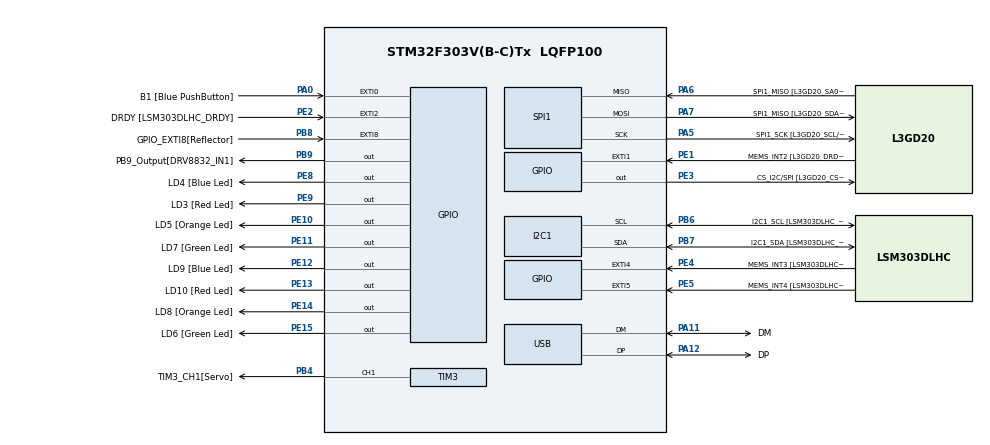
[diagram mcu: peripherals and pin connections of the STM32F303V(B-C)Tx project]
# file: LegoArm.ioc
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FREERTOS.configTOTAL_HEAP_SIZE=4000
FREERTOS.configUSE_PREEMPTION=1
FREERTOS.configUSE_TIMERS=1
I2C1.Timing-I2C=0x2000090E
Mcu.Family=STM32F3
Mcu.Name=STM32F303V(B-C)Tx
Mcu.Package=LQFP100
NVIC.EXTI0_IRQn=true\:6\:0
NVIC.PriorityGroup=NVIC_PRIORITYGROUP_4
NVIC.USB_LP_CAN_RX0_IRQn=true\:5\:0
PA0.GPIO_Label=B1 [Blue PushButton]
PA0.GPIO_ModeDefaultEXTI=GPIO_MODE_IT_RISING
PA0.GPIO_PuPd=GPIO_NOPULL
PA0.Signal=GPXTI0
PA11.GPIO_Label=DM
PA11.GPIO_Mode=GPIO_MODE_AF_PP
PA11.GPIO_PuPd=GPIO_NOPULL
PA11.GPIO_Speed=GPIO_SPEED_LOW
PA11.Mode=Device
PA11.Signal=USB_DM
PA12.GPIO_Label=DP
PA12.GPIO_Mode=GPIO_MODE_AF_PP
PA12.GPIO_PuPd=GPIO_NOPULL
PA12.GPIO_Speed=GPIO_SPEED_LOW
PA12.Mode=Device
PA12.Signal=USB_DP
PA13.GPIO_Label=SWDIO
PA13.Mode=Trace-Asynchronous_SW
PA13.Signal=SYS_JTMS-SWDIO
PA14.GPIO_Label=SWCLK
PA14.Mode=Trace-Asynchronous_SW
PA14.Signal=SYS_JTCK-SWCLK
PA5.GPIO_Label=SPI1_SCK [L3GD20_SCL/SPC]
PA5.GPIO_Mode=GPIO_MODE_AF_PP
PA5.GPIO_PuPd=GPIO_NOPULL
PA5.GPIO_Speed=GPIO_SPEED_LOW
PA5.Mode=Full_Duplex_Master
PA5.Signal=SPI1_SCK
PA6.GPIO_Label=SPI1_MISO [L3GD20_SA0/SDO]
PA6.GPIO_Mode=GPIO_MODE_AF_PP
PA6.GPIO_PuPd=GPIO_NOPULL
PA6.GPIO_Speed=GPIO_SPEED_LOW
PA6.Mode=Full_Duplex_Master
PA6.Signal=SPI1_MISO
PA7.GPIO_Label=SPI1_MISO [L3GD20_SDA/SDI/SDO]
PA7.GPIO_Mode=GPIO_MODE_AF_PP
PA7.GPIO_PuPd=GPIO_NOPULL
PA7.GPIO_Speed=GPIO_SPEED_LOW
PA7.Mode=Full_Duplex_Master
PA7.Signal=SPI1_MOSI
PB3.GPIO_Label=SWO
PB3.Mode=Trace-Asynchronous_SW
PB3.Signal=SYS_JTDO-TRACESWO
PB4.GPIO_Label=TIM3_CH1[Servo]
PB4.GPIO_ModeDefaultPP=GPIO_MODE_AF_PP
PB4.GPIO_PuPd=GPIO_NOPULL
PB4.GPIO_Speed=GPIO_SPEED_LOW
PB4.Signal=S_TIM3_CH1
PB6.GPIO_FM6=__NULL
PB6.GPIO_Label=I2C1_SCL [LSM303DLHC_SCL]
PB6.GPIO_Mode=GPIO_MODE_AF_OD
PB6.GPIO_PuPd=GPIO_NOPULL
PB6.GPIO_Speed=GPIO_SPEED_LOW
PB6.Mode=I2C
PB6.Signal=I2C1_SCL
PB7.GPIO_FM6=__NULL
PB7.GPIO_Label=I2C1_SDA [LSM303DLHC_SDA]
PB7.GPIO_Mode=GPIO_MODE_AF_OD
PB7.GPIO_PuPd=GPIO_NOPULL
PB7.GPIO_Speed=GPIO_SPEED_LOW
PB7.Mode=I2C
PB7.Signal=I2C1_SDA
PB8.GPIO_Label=GPIO_EXTI8[Reflector]
PB8.GPIO_ModeDefaultEXTI=GPIO_MODE_EVT_RISING
PB8.GPIO_PuPd=GPIO_PULLUP
PB8.Signal=GPXTI8
PB9.GPIO_Label=PB9_Output[DRV8832_IN1]
PB9.GPIO_ModeDefaultOutputPP=GPIO_MODE_OUTPUT_PP
PB9.GPIO_PuPd=GPIO_NOPULL
PB9.GPIO_Speed=GPIO_SPEED_LOW
PB9.Signal=GPIO_Output
PE1.GPIO_Label=MEMS_INT2 [L3GD20_DRDY/INT2]
PE1.GPIO_ModeDefaultEXTI=GPIO_MODE_EVT_RISING
PE1.GPIO_PuPd=GPIO_NOPULL
PE1.Signal=GPXTI1
PE10.GPIO_Label=LD5 [Orange Led]
PE10.GPIO_ModeDefaultOutputPP=GPIO_MODE_OUTPUT_PP
PE10.GPIO_PuPd=GPIO_NOPULL
PE10.GPIO_Speed=GPIO_SPEED_LOW
PE10.Signal=GPIO_Output
PE11.GPIO_Label=LD7 [Green Led]
PE11.GPIO_ModeDefaultOutputPP=GPIO_MODE_OUTPUT_PP
PE11.GPIO_PuPd=GPIO_NOPULL
PE11.GPIO_Speed=GPIO_SPEED_LOW
PE11.Signal=GPIO_Output
PE12.GPIO_Label=LD9 [Blue Led]
PE12.GPIO_ModeDefaultOutputPP=GPIO_MODE_OUTPUT_PP
PE12.GPIO_PuPd=GPIO_NOPULL
PE12.GPIO_Speed=GPIO_SPEED_LOW
PE12.Signal=GPIO_Output
PE13.GPIO_Label=LD10 [Red Led]
PE13.GPIO_ModeDefaultOutputPP=GPIO_MODE_OUTPUT_PP
PE13.GPIO_PuPd=GPIO_NOPULL
PE13.GPIO_Speed=GPIO_SPEED_LOW
PE13.Signal=GPIO_Output
PE14.GPIO_Label=LD8 [Orange Led]
PE14.GPIO_ModeDefaultOutputPP=GPIO_MODE_OUTPUT_PP
PE14.GPIO_PuPd=GPIO_NOPULL
PE14.GPIO_Speed=GPIO_SPEED_LOW
PE14.Signal=GPIO_Output
PE15.GPIO_Label=LD6 [Green Led]
PE15.GPIO_ModeDefaultOutputPP=GPIO_MODE_OUTPUT_PP
PE15.GPIO_PuPd=GPIO_NOPULL
PE15.GPIO_Speed=GPIO_SPEED_LOW
PE15.Signal=GPIO_Output
PE2.GPIO_Label=DRDY [LSM303DLHC_DRDY]
PE2.GPIO_ModeDefaultEXTI=GPIO_MODE_EVT_RISING
PE2.GPIO_PuPd=GPIO_NOPULL
PE2.Signal=GPXTI2
PE3.GPIO_Label=CS_I2C/SPI [L3GD20_CS_I2C/SPI]
PE3.GPIO_ModeDefaultOutputPP=GPIO_MODE_OUTPUT_PP
PE3.GPIO_PuPd=GPIO_NOPULL
PE3.GPIO_Speed=GPIO_SPEED_LOW
PE3.Signal=GPIO_Output
PE4.GPIO_Label=MEMS_INT3 [LSM303DLHC_INT1]
PE4.GPIO_ModeDefaultEXTI=GPIO_MODE_EVT_RISING
PE4.GPIO_PuPd=GPIO_NOPULL
PE4.Signal=GPXTI4
PE5.GPIO_Label=MEMS_INT4 [LSM303DLHC_INT2]
PE5.GPIO_ModeDefaultEXTI=GPIO_MODE_EVT_RISING
PE5.GPIO_PuPd=GPIO_NOPULL
PE5.Signal=GPXTI5
PE8.GPIO_Label=LD4 [Blue Led]
PE8.GPIO_ModeDefaultOutputPP=GPIO_MODE_OUTPUT_PP
PE8.GPIO_PuPd=GPIO_NOPULL
PE8.GPIO_Speed=GPIO_SPEED_LOW
PE8.Signal=GPIO_Output
PE9.GPIO_Label=LD3 [Red Led]
PE9.GPIO_ModeDefaultOutputPP=GPIO_MODE_OUTPUT_PP
PE9.GPIO_PuPd=GPIO_NOPULL
PE9.GPIO_Speed=GPIO_SPEED_LOW
PE9.Signal=GPIO_Output
PF0-OSC_IN.GPIO_Label=OSC_IN
PF0-OSC_IN.Mode=HSE-External-Oscillator
PF0-OSC_IN.Signal=RCC_OSC_IN
PF1-OSC_OUT.GPIO_Label=OSC_OUT
PF1-OSC_OUT.Mode=HSE-External-Oscillator
PF1-OSC_OUT.Signal=RCC_OSC_OUT
ProjectManager.TargetToolchain=MDK-ARM 4.73
RCC.APB1CLKDivider=RCC_HCLK_DIV2
RCC.HSE_VALUE=8000000
RCC.HSI_VALUE=8000000
RCC.LSE_VALUE=32768
RCC.PLLMUL=RCC_PLL_MUL9
RCC.PLLSource=RCC_PLLSOURCE_HSE
RCC.PRESCALERUSB=RCC_USBPLLCLK_DIV1_5
RCC.SYSCLKSource=RCC_SYSCLKSOURCE_PLLCLK
SH.S_TIM3_CH1.0=TIM3_CH1,PWM Generation1 CH1
SPI1.Mode-Full_Duplex_Master=SPI_MODE_MASTER
TIM3.Period=17999
TIM3.Prescaler=79
TIM3.Pulse-PWM\ Generation1\ CH1=1349
USB_DEVICE.USBD_HandleTypeDef=hUsbDeviceFS
USB_DEVICE.VirtualMode=Cdc
USB_DEVICE.VirtualModeFS=Cdc_FS
VP_FREERTOS_VS_ENABLE.Mode=Enabled
VP_TIM3_VS_ClockSourceINT.Mode=Internal
VP_USB_DEVICE_VS_USB_DEVICE_CDC_FS.Mode=CDC_FS

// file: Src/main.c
/**
  ******************************************************************************
  * File Name          : main.c
  * Date               : 25/07/2014 08:49:38
  * Description        : Main program body
  ******************************************************************************
  *
  * COPYRIGHT(c) 2014 STMicroelectronics
  *
  * Redistribution and use in source and binary forms, with or without modification,
  * are permitted provided that the following conditions are met:
  *   1. Redistributions of source code must retain the above copyright notice,
  *      this list of conditions and the following disclaimer.
  *   2. Redistributions in binary form must reproduce the above copyright notice,
  *      this list of conditions and the following disclaimer in the documentation
  *      and/or other materials provided with the distribution.
  *   3. Neither the name of STMicroelectronics nor the names of its contributors
  *      may be used to endorse or promote products derived from this software
  *      without specific prior written permission.
  *
  * THIS SOFTWARE IS PROVIDED BY THE COPYRIGHT HOLDERS AND CONTRIBUTORS "AS IS"
  * AND ANY EXPRESS OR IMPLIED WARRANTIES, INCLUDING, BUT NOT LIMITED TO, THE
  * IMPLIED WARRANTIES OF MERCHANTABILITY AND FITNESS FOR A PARTICULAR PURPOSE ARE
  * DISCLAIMED. IN NO EVENT SHALL THE COPYRIGHT HOLDER OR CONTRIBUTORS BE LIABLE
  * FOR ANY DIRECT, INDIRECT, INCIDENTAL, SPECIAL, EXEMPLARY, OR CONSEQUENTIAL
  * DAMAGES (INCLUDING, BUT NOT LIMITED TO, PROCUREMENT OF SUBSTITUTE GOODS OR
  * SERVICES; LOSS OF USE, DATA, OR PROFITS; OR BUSINESS INTERRUPTION) HOWEVER
  * CAUSED AND ON ANY THEORY OF LIABILITY, WHETHER IN CONTRACT, STRICT LIABILITY,
  * OR TORT (INCLUDING NEGLIGENCE OR OTHERWISE) ARISING IN ANY WAY OUT OF THE USE
  * OF THIS SOFTWARE, EVEN IF ADVISED OF THE POSSIBILITY OF SUCH DAMAGE.
  *
  ******************************************************************************
  */

#include "stm32f3xx_hal.h"
#include "cmsis_os.h"
#include "i2c.h"
#include "spi.h"
#include "tim.h"
#include "usb_device.h"
#include "gpio.h"

/* USER CODE BEGIN 0 */
#include "usbd_cdc_buf.h"
#include "command.h"
osMessageQId RcvBoxId;
osMessageQId CmdBoxId;

/* USER CODE END 0 */

void SystemClock_Config(void);
static void StartThread(void const * argument);

int main(void)
{

  /* MCU Configuration----------------------------------------------------------*/

  /* Reset of all peripherals, Initializes the Flash interface and the Systick. */
  HAL_Init();

  /* Configure the system clock */
  SystemClock_Config();

  /* System interrupt init*/
  /* Sets the priority grouping field */
  HAL_NVIC_SetPriorityGrouping(NVIC_PRIORITYGROUP_4);
  HAL_NVIC_SetPriority(SysTick_IRQn, 0, 0);

  /* Initialize all configured peripherals */
  MX_GPIO_Init();
  MX_I2C1_Init();
  MX_SPI1_Init();
  MX_TIM3_Init();

  /* USER CODE BEGIN 2 */
 	osMessageQDef(RcvBox, RX_BUFFER_COUNT, uint32_t);
	RcvBoxId = osMessageCreate(osMessageQ(RcvBox), NULL);

 	osMessageQDef(CmdBoxId, MAX_CMD_BUF_COUNT, uint32_t);
	CmdBoxId = osMessageCreate(osMessageQ(CmdBoxId), NULL);

  osThreadDef(MOTOR_Thread, StartMotorThread, osPriorityNormal, 0, configMINIMAL_STACK_SIZE);
  osThreadCreate (osThread(MOTOR_Thread), NULL);

  /* USER CODE END 2 */

  /* Code generated for FreeRTOS */
  /* Create Start thread */
  osThreadDef(USER_Thread, StartThread, osPriorityNormal, 0, configMINIMAL_STACK_SIZE);
  osThreadCreate (osThread(USER_Thread), NULL);

  /* Start scheduler */
  osKernelStart(NULL, NULL);

  /* We should never get here as control is now taken by the scheduler */

  while (1)
  {
  }

}

/** System Clock Configuration
*/
void SystemClock_Config(void)
{

  RCC_ClkInitTypeDef RCC_ClkInitStruct;
  RCC_PeriphCLKInitTypeDef PeriphClkInit;
  RCC_OscInitTypeDef RCC_OscInitStruct;

  RCC_OscInitStruct.OscillatorType = RCC_OSCILLATORTYPE_HSI|RCC_OSCILLATORTYPE_HSE;
  RCC_OscInitStruct.HSEState = RCC_HSE_ON;
  RCC_OscInitStruct.HSEPredivValue = RCC_HSE_PREDIV_DIV1;
  RCC_OscInitStruct.HSIState = RCC_HSI_ON;
  RCC_OscInitStruct.HSICalibrationValue = 16;
  RCC_OscInitStruct.PLL.PLLState = RCC_PLL_ON;
  RCC_OscInitStruct.PLL.PLLSource = RCC_PLLSOURCE_HSE;
  RCC_OscInitStruct.PLL.PLLMUL = RCC_PLL_MUL9;
  HAL_RCC_OscConfig(&RCC_OscInitStruct);

  RCC_ClkInitStruct.ClockType = RCC_CLOCKTYPE_SYSCLK|RCC_CLOCKTYPE_PCLK1;
  RCC_ClkInitStruct.SYSCLKSource = RCC_SYSCLKSOURCE_PLLCLK;
  RCC_ClkInitStruct.AHBCLKDivider = RCC_SYSCLK_DIV1;
  RCC_ClkInitStruct.APB1CLKDivider = RCC_HCLK_DIV2;
  RCC_ClkInitStruct.APB2CLKDivider = RCC_HCLK_DIV1;
  HAL_RCC_ClockConfig(&RCC_ClkInitStruct, FLASH_LATENCY_2);

  PeriphClkInit.PeriphClockSelection = RCC_PERIPHCLK_USB|RCC_PERIPHCLK_I2C1;
  PeriphClkInit.I2c1ClockSelection = RCC_I2C1CLKSOURCE_HSI;
  PeriphClkInit.USBClockSelection = RCC_USBPLLCLK_DIV1_5;
  HAL_RCCEx_PeriphCLKConfig(&PeriphClkInit);

  __SYSCFG_CLK_ENABLE();

}

static void StartThread(void const * argument) {

  /* init code for USB_DEVICE */
  MX_USB_DEVICE_Init();

  /* USER CODE BEGIN 5 */

	osEvent evt;
	UsbUserBufferDef *rxBufPtr;
  /* Infinite loop */
  for(;;)
  {
    evt = osMessageGet(RcvBoxId, osWaitForever);
		// VCP EchoBack
		if (evt.status == osEventMessage) {
			rxBufPtr = evt.value.p;
			ParseInputChars(rxBufPtr);
		}
		//check received length, read UserRxBufferFS
  }

  /* USER CODE END 5 */

}

/************************ (C) COPYRIGHT STMicroelectronics *****END OF FILE****/
